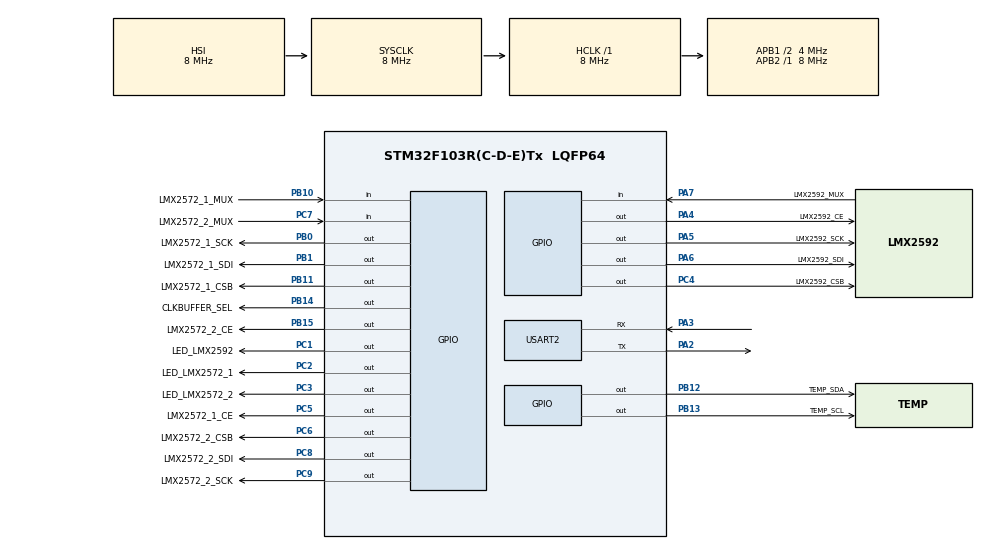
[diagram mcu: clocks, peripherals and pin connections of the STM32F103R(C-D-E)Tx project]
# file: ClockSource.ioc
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Mcu.Family=STM32F1
Mcu.Name=STM32F103R(C-D-E)Tx
Mcu.Package=LQFP64
NVIC.PriorityGroup=NVIC_PRIORITYGROUP_4
PA13.Mode=Serial_Wire
PA13.Signal=SYS_JTMS-SWDIO
PA14.Mode=Serial_Wire
PA14.Signal=SYS_JTCK-SWCLK
PA2.Mode=Asynchronous
PA2.Signal=USART2_TX
PA3.Mode=Asynchronous
PA3.Signal=USART2_RX
PA4.GPIO_Label=LMX2592_CE
PA4.PinState=GPIO_PIN_RESET
PA4.Signal=GPIO_Output
PA5.GPIO_Label=LMX2592_SCK
PA5.Signal=GPIO_Output
PA6.GPIO_Label=LMX2592_SDI
PA6.Signal=GPIO_Output
PA7.GPIO_Label=LMX2592_MUX
PA7.Signal=GPIO_Input
PB0.GPIO_Label=LMX2572_1_SCK
PB0.GPIO_Speed=GPIO_SPEED_FREQ_HIGH
PB0.PinState=GPIO_PIN_RESET
PB0.Signal=GPIO_Output
PB1.GPIO_Label=LMX2572_1_SDI
PB1.GPIO_Speed=GPIO_SPEED_FREQ_HIGH
PB1.PinState=GPIO_PIN_RESET
PB1.Signal=GPIO_Output
PB10.GPIO_Label=LMX2572_1_MUX
PB10.Signal=GPIO_Input
PB11.GPIO_Label=LMX2572_1_CSB
PB11.GPIO_Speed=GPIO_SPEED_FREQ_HIGH
PB11.PinState=GPIO_PIN_RESET
PB11.Signal=GPIO_Output
PB12.GPIO_Label=TEMP_SDA
PB12.Signal=GPIO_Output
PB13.GPIO_Label=TEMP_SCL
PB13.Signal=GPIO_Output
PB14.GPIO_Label=CLKBUFFER_SEL
PB14.Signal=GPIO_Output
PB15.GPIO_Label=LMX2572_2_CE
PB15.GPIO_Speed=GPIO_SPEED_FREQ_HIGH
PB15.PinState=GPIO_PIN_RESET
PB15.Signal=GPIO_Output
PC1.GPIO_Label=LED_LMX2592
PC1.PinState=GPIO_PIN_RESET
PC1.Signal=GPIO_Output
PC2.GPIO_Label=LED_LMX2572_1
PC2.PinState=GPIO_PIN_RESET
PC2.Signal=GPIO_Output
PC3.GPIO_Label=LED_LMX2572_2
PC3.PinState=GPIO_PIN_RESET
PC3.Signal=GPIO_Output
PC4.GPIO_Label=LMX2592_CSB
PC4.GPIO_Speed=GPIO_SPEED_FREQ_HIGH
PC4.Signal=GPIO_Output
PC5.GPIO_Label=LMX2572_1_CE
PC5.GPIO_Speed=GPIO_SPEED_FREQ_HIGH
PC5.PinState=GPIO_PIN_RESET
PC5.Signal=GPIO_Output
PC6.GPIO_Label=LMX2572_2_CSB
PC6.GPIO_Speed=GPIO_SPEED_FREQ_HIGH
PC6.PinState=GPIO_PIN_RESET
PC6.Signal=GPIO_Output
PC7.GPIO_Label=LMX2572_2_MUX
PC7.Signal=GPIO_Input
PC8.GPIO_Label=LMX2572_2_SDI
PC8.GPIO_Speed=GPIO_SPEED_FREQ_HIGH
PC8.PinState=GPIO_PIN_RESET
PC8.Signal=GPIO_Output
PC9.GPIO_Label=LMX2572_2_SCK
PC9.GPIO_Speed=GPIO_SPEED_FREQ_HIGH
PC9.PinState=GPIO_PIN_RESET
PC9.Signal=GPIO_Output
PD0-OSC_IN.Mode=HSE-External-Oscillator
PD0-OSC_IN.Signal=RCC_OSC_IN
PD1-OSC_OUT.Mode=HSE-External-Oscillator
PD1-OSC_OUT.Signal=RCC_OSC_OUT
ProjectManager.HeapSize=0x200
ProjectManager.StackSize=0x400
ProjectManager.TargetToolchain=STM32CubeIDE
RCC.AHBFreq_Value=8000000
RCC.APB1CLKDivider=RCC_HCLK_DIV2
RCC.APB1Freq_Value=4000000
RCC.APB1TimFreq_Value=8000000
RCC.APB2Freq_Value=8000000
RCC.APB2TimFreq_Value=8000000
RCC.HCLKFreq_Value=8000000
RCC.PLLMUL=RCC_PLL_MUL6
RCC.PLLSourceVirtual=RCC_PLLSOURCE_HSE
RCC.SYSCLKFreq_VALUE=8000000
RCC.USBFreq_Value=48000000
USART2.VirtualMode=VM_ASYNC
board=custom

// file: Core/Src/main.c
/* USER CODE BEGIN Header */
/**
  ******************************************************************************
  * @file           : main.c
  * @brief          : Main program body
  ******************************************************************************
  * @attention
  *
  * Copyright (c) 2026 STMicroelectronics.
  * All rights reserved.
  *
  * This software is licensed under terms that can be found in the LICENSE file
  * in the root directory of this software component.
  * If no LICENSE file comes with this software, it is provided AS-IS.
  *
  ******************************************************************************
  */
/* USER CODE END Header */
#include "main.h"
#include "usart.h"
#include "gpio.h"

/* USER CODE BEGIN Includes */
#include "LMX2592.h"
#include "LMX2572.h"
/* USER CODE END Includes */

void SystemClock_Config(void);

/* USER CODE BEGIN 0 */
LMX2572_Device lmx_dev1;
LMX2572_Device lmx_dev2;
/* USER CODE END 0 */

int main(void)
{

  /* MCU Configuration--------------------------------------------------------*/

  /* Reset of all peripherals, Initializes the Flash interface and the Systick. */
  HAL_Init();

  /* Configure the system clock */
  SystemClock_Config();

  /* Initialize all configured peripherals */
  MX_GPIO_Init();
  MX_USART2_UART_Init();
  /* USER CODE BEGIN 2 */
  LMX2592_Init();
  LMX2592_SetMuxPin(LMX2592_MUX_LOCK_DET);
  LMX2592_SetOutputChannel(LMX2592_CHANNEL_A);
  LMX2592_SetOutputPower(LMX2592_CHANNEL_A, 0);
//  LMX2592_SetReferenceFrequency(50, 1, 1, 1, 1);
  LMX2592_SetFrequency(LMX2592_CHANNEL_A, 1000);
  LMX2592_SetMuxPin(1);

  LMX2572_Device_Init(&lmx_dev1,
                      LMX2572_1_CE_GPIO_Port, LMX2572_1_CE_Pin,
                      LMX2572_1_CSB_GPIO_Port, LMX2572_1_CSB_Pin,
                      LMX2572_1_SCK_GPIO_Port, LMX2572_1_SCK_Pin,
                      LMX2572_1_SDI_GPIO_Port, LMX2572_1_SDI_Pin,
                      LMX2572_1_MUX_GPIO_Port, LMX2572_1_MUX_Pin);

  LMX2572_Device_Init(&lmx_dev2,
                      LMX2572_2_CE_GPIO_Port, LMX2572_2_CE_Pin,
                      LMX2572_2_CSB_GPIO_Port, LMX2572_2_CSB_Pin,
                      LMX2572_2_SCK_GPIO_Port, LMX2572_2_SCK_Pin,
                      LMX2572_2_SDI_GPIO_Port, LMX2572_2_SDI_Pin,
                      LMX2572_2_MUX_GPIO_Port, LMX2572_2_MUX_Pin);

  LMX2572_Init_Block(&lmx_dev1);
  LMX2572_Init_Block(&lmx_dev2);

  LMX2572_SetReferenceFrequency(&lmx_dev1, 50000000U, 1U, 1U, 1U, 1U);
  LMX2572_SetReferenceFrequency(&lmx_dev2, 50000000U, 1U, 1U, 1U, 1U);

  LMX2572_SetFrequency(&lmx_dev1, 1000000000UL);
  LMX2572_SetFrequency(&lmx_dev2, 1000000000UL);

  LMX2572_SetOutputPower(&lmx_dev1, 0, 0);
  LMX2572_SetOutputPower(&lmx_dev2, 0, 0);

  LMX2572_SetMuxFunction(&lmx_dev1, 1);
  LMX2572_SetMuxFunction(&lmx_dev2, 1);

  LMX2572_SetOutputChannel(&lmx_dev1, 0);
  LMX2572_SetOutputChannel(&lmx_dev2, 0);
  /* USER CODE END 2 */

  /* Infinite loop */
    while (1)
  {

    /* USER CODE BEGIN 3 */
    bool dev1_locked;
    bool dev2_locked;

    LED_LMX2592_LD(LMX2592_MUX_READ());

    dev1_locked = LMX2572_IsLocked(&lmx_dev1);
    dev2_locked = LMX2572_IsLocked(&lmx_dev2);

    HAL_GPIO_WritePin(LED_LMX2572_1_GPIO_Port, LED_LMX2572_1_Pin, dev1_locked ? GPIO_PIN_SET : GPIO_PIN_RESET);
    HAL_GPIO_WritePin(LED_LMX2572_2_GPIO_Port, LED_LMX2572_2_Pin, dev2_locked ? GPIO_PIN_SET : GPIO_PIN_RESET);

    HAL_Delay(100);
  }
  /* USER CODE END 3 */
}

void SystemClock_Config(void)
{
  RCC_OscInitTypeDef RCC_OscInitStruct = {0};
  RCC_ClkInitTypeDef RCC_ClkInitStruct = {0};

  /** Initializes the RCC Oscillators according to the specified parameters
  * in the RCC_OscInitTypeDef structure.
  */
  RCC_OscInitStruct.OscillatorType = RCC_OSCILLATORTYPE_HSI;
  RCC_OscInitStruct.HSIState = RCC_HSI_ON;
  RCC_OscInitStruct.HSICalibrationValue = RCC_HSICALIBRATION_DEFAULT;
  RCC_OscInitStruct.PLL.PLLState = RCC_PLL_NONE;
  if (HAL_RCC_OscConfig(&RCC_OscInitStruct) != HAL_OK)
  {
    Error_Handler();
  }

  /** Initializes the CPU, AHB and APB buses clocks
  */
  RCC_ClkInitStruct.ClockType = RCC_CLOCKTYPE_HCLK|RCC_CLOCKTYPE_SYSCLK
                              |RCC_CLOCKTYPE_PCLK1|RCC_CLOCKTYPE_PCLK2;
  RCC_ClkInitStruct.SYSCLKSource = RCC_SYSCLKSOURCE_HSI;
  RCC_ClkInitStruct.AHBCLKDivider = RCC_SYSCLK_DIV1;
  RCC_ClkInitStruct.APB1CLKDivider = RCC_HCLK_DIV2;
  RCC_ClkInitStruct.APB2CLKDivider = RCC_HCLK_DIV1;

  if (HAL_RCC_ClockConfig(&RCC_ClkInitStruct, FLASH_LATENCY_0) != HAL_OK)
  {
    Error_Handler();
  }
}

void Error_Handler(void)
{
  __disable_irq();
  while (1)
  {
  }
}
